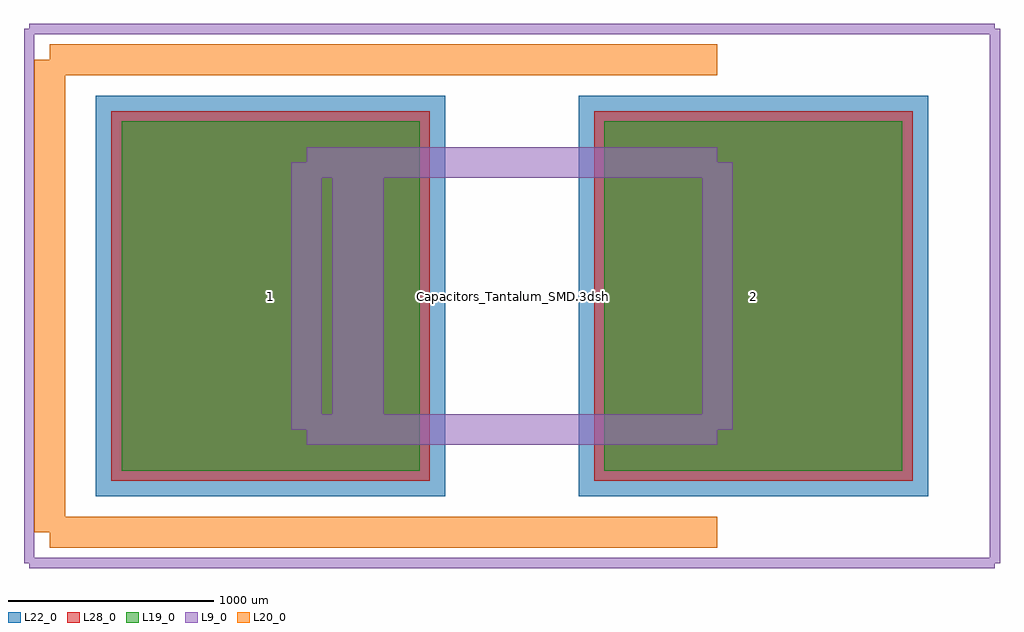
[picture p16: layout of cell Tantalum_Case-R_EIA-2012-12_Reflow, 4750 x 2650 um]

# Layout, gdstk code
import gdstk
lib = gdstk.Library(unit=1e-6, precision=1e-09)
def R(c, l, rs):  # rectangles x0, y0, x1, y1
    for r in rs: c.add(gdstk.rectangle(r[:2], r[2:], *l))
L9_0 = (9, 0)
L19_0 = (19, 0)
L20_0 = (20, 0)
L22_0 = (22, 0)
L28_0 = (28, 0)

tantalum_case_r_eia_2012 = lib.new_cell('Tantalum_Case-R_EIA-2012-12_Reflow')
R(tantalum_case_r_eia_2012, L19_0, [(-1900,-850,-450,850), (450,-850,1900,850)])
R(tantalum_case_r_eia_2012, L22_0, [(-2025,-975,-325,975), (325,-975,2025,975)])
R(tantalum_case_r_eia_2012, L28_0, [(-1950,-900,-400,900), (400,-900,1950,900)])
tantalum_case_r_eia_2012.add(gdstk.FlexPath([(-2250,1150),(-2250,-1150)], 149.998, ends="flush", simple_path=True, layer=20, datatype=0))  # L20_0
tantalum_case_r_eia_2012.add(gdstk.FlexPath([(-2250,-1150),(1000,-1150)], 149.998, ends="flush", simple_path=True, layer=20, datatype=0))  # L20_0
tantalum_case_r_eia_2012.add(gdstk.FlexPath([(-2250,1150),(1000,1150)], 149.998, ends="flush", simple_path=True, layer=20, datatype=0))  # L20_0
tantalum_case_r_eia_2012.add(gdstk.FlexPath([(-700,650),(-700,-650)], 149.998, ends="flush", simple_path=True, layer=9, datatype=0))  # L9_0
tantalum_case_r_eia_2012.add(gdstk.FlexPath([(-800,650),(-800,-650)], 149.998, ends="flush", simple_path=True, layer=9, datatype=0))  # L9_0
tantalum_case_r_eia_2012.add(gdstk.FlexPath([(1000,650),(-1000,650)], 149.998, ends="flush", simple_path=True, layer=9, datatype=0))  # L9_0
tantalum_case_r_eia_2012.add(gdstk.FlexPath([(1000,-650),(1000,650)], 149.998, ends="flush", simple_path=True, layer=9, datatype=0))  # L9_0
tantalum_case_r_eia_2012.add(gdstk.FlexPath([(-1000,-650),(1000,-650)], 149.998, ends="flush", simple_path=True, layer=9, datatype=0))  # L9_0
tantalum_case_r_eia_2012.add(gdstk.FlexPath([(-1000,650),(-1000,-650)], 149.998, ends="flush", simple_path=True, layer=9, datatype=0))  # L9_0
tantalum_case_r_eia_2012.add(gdstk.FlexPath([(2350,1300),(-2350,1300)], 50, ends="flush", simple_path=True, layer=9, datatype=0))  # L9_0
tantalum_case_r_eia_2012.add(gdstk.FlexPath([(2350,-1300),(2350,1300)], 50, ends="flush", simple_path=True, layer=9, datatype=0))  # L9_0
tantalum_case_r_eia_2012.add(gdstk.FlexPath([(-2350,-1300),(2350,-1300)], 50, ends="flush", simple_path=True, layer=9, datatype=0))  # L9_0
tantalum_case_r_eia_2012.add(gdstk.FlexPath([(-2350,1300),(-2350,-1300)], 50, ends="flush", simple_path=True, layer=9, datatype=0))  # L9_0
tantalum_case_r_eia_2012.add(gdstk.Label('Capacitors_Tantalum_SMD.3dshapes/Tantalum_Case-R_EIA-2012-12.wrl', (0,0), layer=12, texttype=0))
tantalum_case_r_eia_2012.add(gdstk.Label('2', (1175,0), layer=28, texttype=0))
tantalum_case_r_eia_2012.add(gdstk.Label('1', (-1175,0), layer=28, texttype=0))
tantalum_case_r_eia_2012.add(gdstk.Label('type', (0,-2400), layer=9, texttype=0))
tantalum_case_r_eia_2012.add(gdstk.Label('devicename', (0,2400), layer=9, texttype=0))

lib.write_gds('Tantalum_Case-R_EIA-2012-12_Reflow.gds')
